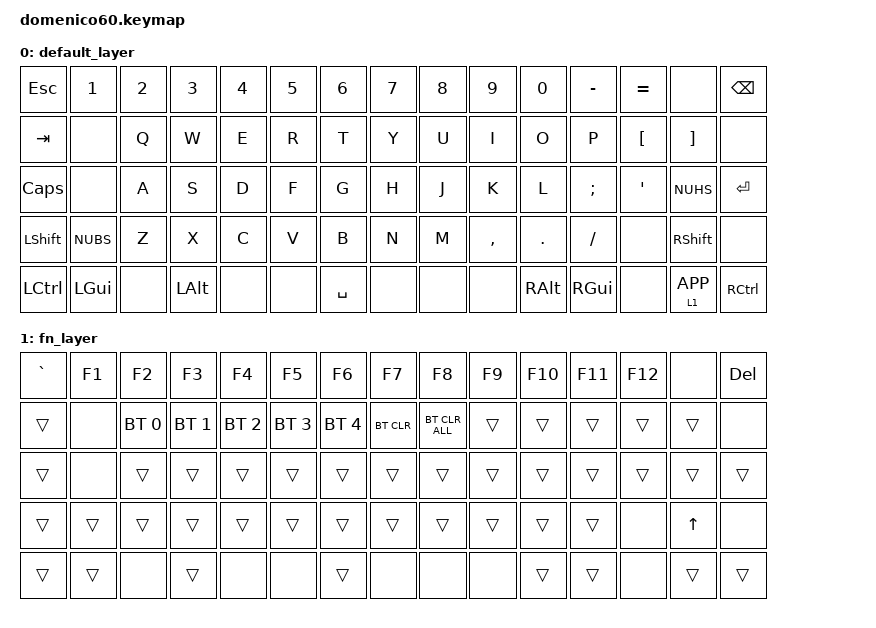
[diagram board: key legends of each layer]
#include <behaviors.dtsi>
#include <dt-bindings/zmk/keys.h>
#include <dt-bindings/zmk/bt.h>

/ {
    keymap {
        compatible = "zmk,keymap";

        default_layer {
            bindings = <
                &kp ESC   &kp N1    &kp N2    &kp N3    &kp N4    &kp N5    &kp N6    &kp N7    &kp N8    &kp N9    &kp N0    &kp MINUS &kp EQUAL &none     &kp BSPC
                &kp TAB   &none     &kp Q     &kp W     &kp E     &kp R     &kp T     &kp Y     &kp U     &kp I     &kp O     &kp P     &kp LBKT  &kp RBKT  &none
                &kp CAPS  &none     &kp A     &kp S     &kp D     &kp F     &kp G     &kp H     &kp J     &kp K     &kp L     &kp SEMI  &kp SQT   &kp NUHS  &kp RET
                &kp LSHFT &kp NUBS  &kp Z     &kp X     &kp C     &kp V     &kp B     &kp N     &kp M     &kp COMMA &kp DOT   &kp FSLH  &none     &kp RSHFT &none
                &kp LCTRL &kp LGUI  &none     &kp LALT  &none     &none     &kp SPACE &none     &none     &none     &kp RALT  &kp RGUI  &none     &lt 1 K_APP &kp RCTRL
            >;
        };

        fn_layer {
            bindings = <
                &kp GRAVE &kp F1    &kp F2    &kp F3    &kp F4    &kp F5    &kp F6    &kp F7    &kp F8    &kp F9    &kp F10   &kp F11   &kp F12   &none     &kp DEL
                &trans    &none     &bt BT_SEL 0 &bt BT_SEL 1 &bt BT_SEL 2 &bt BT_SEL 3 &bt BT_SEL 4 &bt BT_CLR &bt BT_CLR_ALL &trans &trans &trans &trans &trans &none
                &trans    &none     &trans    &trans    &trans    &trans    &trans    &trans    &trans    &trans    &trans    &trans    &trans    &trans    &trans
                &trans    &trans    &trans    &trans    &trans    &trans    &trans    &trans    &trans    &trans    &trans    &trans    &none     &kp UP    &none
                &trans    &trans    &none     &trans    &none     &none     &trans    &none     &none     &none     &trans    &trans    &none     &trans    &trans
            >;
        };
    };
};
